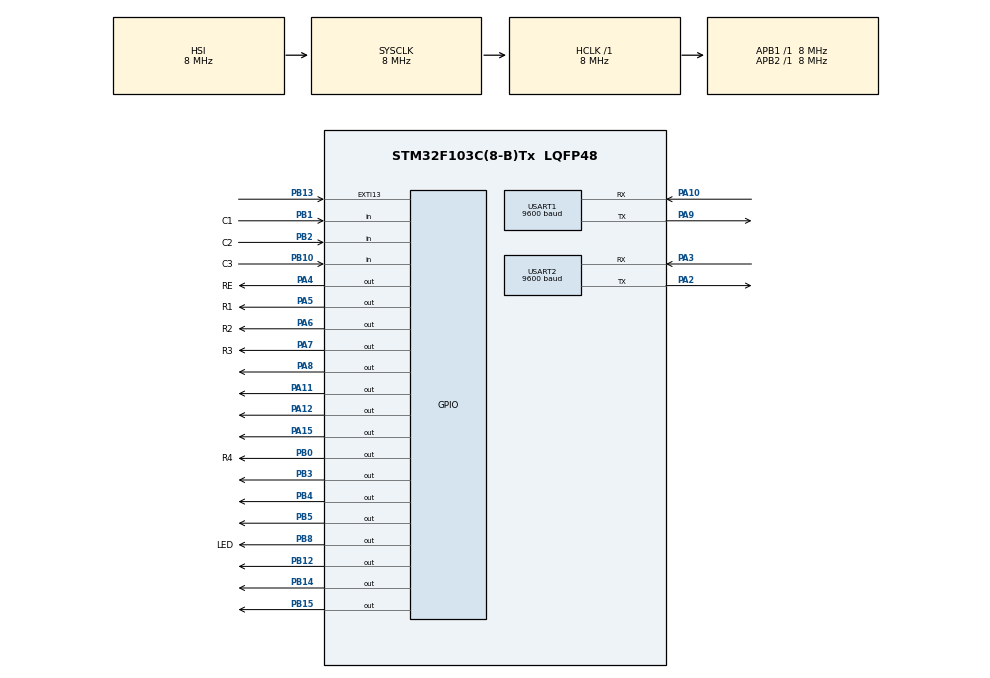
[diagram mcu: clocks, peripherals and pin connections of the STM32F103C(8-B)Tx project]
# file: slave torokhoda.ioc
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Mcu.Family=STM32F1
Mcu.Name=STM32F103C(8-B)Tx
Mcu.Package=LQFP48
NVIC.EXTI15_10_IRQn=true\:0\:0\:false\:false\:true\:true\:true\:true
NVIC.PriorityGroup=NVIC_PRIORITYGROUP_4
NVIC.USART2_IRQn=true\:0\:0\:false\:false\:true\:true\:true\:true
PA10.Mode=Asynchronous
PA10.Signal=USART1_RX
PA11.Signal=GPIO_Output
PA12.Signal=GPIO_Output
PA13.Mode=Serial_Wire
PA13.Signal=SYS_JTMS-SWDIO
PA14.Mode=Serial_Wire
PA14.Signal=SYS_JTCK-SWCLK
PA15.GPIO_PuPd=GPIO_PULLUP
PA15.PinState=GPIO_PIN_RESET
PA15.Signal=GPIO_Output
PA2.Mode=Asynchronous
PA2.Signal=USART2_TX
PA3.Mode=Asynchronous
PA3.Signal=USART2_RX
PA4.GPIO_Label=RE
PA4.Signal=GPIO_Output
PA5.GPIO_Label=R1
PA5.Signal=GPIO_Output
PA6.GPIO_Label=R2
PA6.Signal=GPIO_Output
PA7.GPIO_Label=R3
PA7.Signal=GPIO_Output
PA8.PinState=GPIO_PIN_RESET
PA8.Signal=GPIO_Output
PA9.Mode=Asynchronous
PA9.Signal=USART1_TX
PB0.GPIO_Label=R4
PB0.Signal=GPIO_Output
PB1.GPIO_Label=C1
PB1.GPIO_PuPd=GPIO_PULLUP
PB1.Signal=GPIO_Input
PB10.GPIO_Label=C3
PB10.GPIO_PuPd=GPIO_PULLUP
PB10.Signal=GPIO_Input
PB12.Signal=GPIO_Output
PB13.GPIO_ModeDefaultEXTI=GPIO_MODE_IT_FALLING
PB13.GPIO_PuPd=GPIO_PULLUP
PB13.Signal=GPXTI13
PB14.Signal=GPIO_Output
PB15.Signal=GPIO_Output
PB2.GPIO_Label=C2
PB2.GPIO_PuPd=GPIO_PULLUP
PB2.Signal=GPIO_Input
PB3.Signal=GPIO_Output
PB4.Signal=GPIO_Output
PB5.Signal=GPIO_Output
PB8.GPIO_Label=LED
PB8.Signal=GPIO_Output
ProjectManager.HeapSize=0x200
ProjectManager.StackSize=0x400
ProjectManager.TargetToolchain=MDK-ARM V5.32
RCC.AHBFreq_Value=8000000
RCC.APB1Freq_Value=8000000
RCC.APB1TimFreq_Value=8000000
RCC.APB2Freq_Value=8000000
RCC.APB2TimFreq_Value=8000000
RCC.HCLKFreq_Value=8000000
RCC.PLLMUL=RCC_PLL_MUL6
RCC.SYSCLKFreq_VALUE=8000000
RCC.USBFreq_Value=24000000
USART1.BaudRate=9600
USART1.Parity=PARITY_EVEN
USART1.VirtualMode=VM_ASYNC
USART2.BaudRate=9600
USART2.VirtualMode=VM_ASYNC
board=custom

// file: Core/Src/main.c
/* USER CODE BEGIN Header */
/**
  ******************************************************************************
  * @file           : main.c
  * @brief          : Main program body
  ******************************************************************************
  * @attention
  *
  * Copyright (c) 2025 STMicroelectronics.
  * All rights reserved.
  *
  * This software is licensed under terms that can be found in the LICENSE file
  * in the root directory of this software component.
  * If no LICENSE file comes with this software, it is provided AS-IS.
  *
  ******************************************************************************
  */
/* USER CODE END Header */
#include "main.h"
#include "usart.h"
#include "gpio.h"

/* USER CODE BEGIN Includes */
#include "S_modbus.h"
/* USER CODE END Includes */

/* USER CODE BEGIN PTD */
uint32_t previousMillis, currentMillis;
uint8_t RxData[256], meow;
uint8_t TxData[256];
char key,show,t,last_key;
/* USER CODE END PTD */

/* USER CODE BEGIN PD */
#define a 	0x10		//PB4
#define b 	0x20		//PB5
#define c 	0x8000	//PB15
#define d 	0x800		//PA11
#define e 	0x1000	//PA12
#define f 	0x08		//PB3
#define g 	0x8000	//PA15
#define DP 	0x4000	//PB14

#define C1 0x02			//PB1
#define C2 0x04			//PB2
#define C3 0x400		//PB10
#define R1 0x20			//PA5
#define R2 0x40			//PA6
#define R3 0x80			//PA7
#define R4 0x01			//PB0

#define col_number  3
/* USER CODE END PD */

/* USER CODE BEGIN PV */
void SevenSegNumber(int num);
char keypad_getkey(void);
void beep(void);
/* USER CODE END PV */

void SystemClock_Config(void);

/* USER CODE BEGIN 0 */
uint8_t RxData[256];
uint8_t TxData[256];
int indx,flag,holding,shown,keyActive = 0;

void HAL_UARTEx_RxEventCallback(UART_HandleTypeDef *huart, uint16_t Size)
{
	HAL_UARTEx_ReceiveToIdle_IT(huart, RxData, 256);
	if (RxData[0] == SLAVE_ID)
	{
		switch (RxData[1]){
		case 0x03:
			readHoldingRegs();
			break;
		case 0x04:
			readInputRegs(show);
			break;
		case 0x01:
			readCoils();
			break;
		case 0x02:
			readInputs();
			break;
		case 0x10:
			writeHoldingRegs();
			break;
		case 0x06:
			writeSingleReg();
		break;
		case 0x05:
			writeSingleCoil();
		break;
		case 0x0f:
			writeMultiCoils();
		break;
		default:
			modbusException(ILLEGAL_FUNCTION);
			break;
		}
	}

	indx = Size;
	HAL_UARTEx_ReceiveToIdle_IT(&uart_ch, RxData, 256);
}
/* USER CODE END 0 */

int main(void)
{

  /* MCU Configuration--------------------------------------------------------*/

  /* Reset of all peripherals, Initializes the Flash interface and the Systick. */
  HAL_Init();

  /* Configure the system clock */
  SystemClock_Config();

  /* Initialize all configured peripherals */
  MX_GPIO_Init();
  MX_USART1_UART_Init();
  MX_USART2_UART_Init();
  /* USER CODE BEGIN 2 */

	HAL_GPIO_WritePin(GPIOB, GPIO_PIN_12, GPIO_PIN_SET);
	HAL_Delay(500);
	HAL_GPIO_WritePin(GPIOB, GPIO_PIN_12, GPIO_PIN_RESET);

	HAL_UARTEx_ReceiveToIdle_IT(&uart_ch, RxData, 256);

	//GPIOA->ODR &= 0x00;

  /* USER CODE END 2 */

  /* Infinite loop */
  /* USER CODE BEGIN WHILE */
  while (1)
  {

		key = keypad_getkey();
		if (show == TxData[4])HAL_GPIO_WritePin(GPIOB, LED_Pin, GPIO_PIN_RESET);
		else if (show != RxData[5]) HAL_GPIO_WritePin(GPIOB, LED_Pin, GPIO_PIN_SET);
		else HAL_GPIO_WritePin(GPIOB, LED_Pin, GPIO_PIN_RESET);

		if (key != 0 )
			show=key;
		else if (key ==0 && RxData[5] !=0  && RxData[1] == 6 && meow ==1)
		{
			show = RxData[5];
			beep();
			meow=0;
		}
	SevenSegNumber(show);

    /* USER CODE END WHILE */

  }
}

void SystemClock_Config(void)
{
  RCC_OscInitTypeDef RCC_OscInitStruct = {0};
  RCC_ClkInitTypeDef RCC_ClkInitStruct = {0};

  /** Initializes the RCC Oscillators according to the specified parameters
  * in the RCC_OscInitTypeDef structure.
  */
  RCC_OscInitStruct.OscillatorType = RCC_OSCILLATORTYPE_HSI;
  RCC_OscInitStruct.HSIState = RCC_HSI_ON;
  RCC_OscInitStruct.HSICalibrationValue = RCC_HSICALIBRATION_DEFAULT;
  RCC_OscInitStruct.PLL.PLLState = RCC_PLL_NONE;
  if (HAL_RCC_OscConfig(&RCC_OscInitStruct) != HAL_OK)
  {
    Error_Handler();
  }

  /** Initializes the CPU, AHB and APB buses clocks
  */
  RCC_ClkInitStruct.ClockType = RCC_CLOCKTYPE_HCLK|RCC_CLOCKTYPE_SYSCLK
                              |RCC_CLOCKTYPE_PCLK1|RCC_CLOCKTYPE_PCLK2;
  RCC_ClkInitStruct.SYSCLKSource = RCC_SYSCLKSOURCE_HSI;
  RCC_ClkInitStruct.AHBCLKDivider = RCC_SYSCLK_DIV1;
  RCC_ClkInitStruct.APB1CLKDivider = RCC_HCLK_DIV1;
  RCC_ClkInitStruct.APB2CLKDivider = RCC_HCLK_DIV1;

  if (HAL_RCC_ClockConfig(&RCC_ClkInitStruct, FLASH_LATENCY_0) != HAL_OK)
  {
    Error_Handler();
  }
}

/* USER CODE BEGIN 4 */
void HAL_GPIO_EXTI_Callback(uint16_t GPIO_PIN)
{
	currentMillis = HAL_GetTick();

	if (GPIO_PIN == GPIO_PIN_13 && (currentMillis - previousMillis > 200))
	{
		show = 10;
		readInputRegs(show);

	}
	previousMillis = currentMillis;
}

void SevenSegNumber(int num){
    GPIOA->ODR &= ~(d | e | g);
    GPIOB->ODR &= ~(a | b | c | f);

    switch (num)
    {
        case 0:
            GPIOA->ODR |= (d | e);
            GPIOB->ODR |= (a | b | c | f);
            break;
        case 1:
            GPIOB->ODR |= (b | c);
            break;
        case 2:
            GPIOA->ODR |= (d | e | g);
            GPIOB->ODR |= (a | b);
            break;
        case 3:
            GPIOA->ODR |= (d | g);
            GPIOB->ODR |= (a | b | c);
            break;
        case 4:
            GPIOA->ODR |= (g);
            GPIOB->ODR |= (b | c | f);
            break;
        case 5:
            GPIOA->ODR |= (d | g);
            GPIOB->ODR |= (a | c | f);
            break;
        case 6:
            GPIOA->ODR |= (d | e | g);
            GPIOB->ODR |= (a | c | f);
            break;
        case 7:
            GPIOB->ODR |= (a | b | c);
            break;
        case 8:
            GPIOA->ODR |= (d | e | g);
            GPIOB->ODR |= (a | b | c | f);
            break;
        case 9:
            GPIOA->ODR |= (d | g);
            GPIOB->ODR |= (a | b | c | f);
            break;
				case 10:
            GPIOA->ODR |= (g);
            break;
    }
}

char keypad_getkey(void)
{
	int row, col;
	const int row_high[] =  {R1_Pin, R2_Pin, R3_Pin, R4_Pin}; /* one row is high/low */
	/* If a key is pressed, it gets here to find out which key.
	* It activates one row at a time and read the input to see which column is active. */
	for (row = 0; row < 4; row++)
	{
		if (row<3)	HAL_GPIO_WritePin(GPIOA, row_high[row], GPIO_PIN_RESET); /* drive the active row low */
		else 				HAL_GPIO_WritePin(GPIOB, row_high[row], GPIO_PIN_RESET); /* drive the active row low */
		HAL_Delay(5); /* wait for signal to settle */
		col = GPIOB->IDR & (C1 | C2 | C3); /* read all columns*/
		if (row<3)	HAL_GPIO_WritePin(GPIOA, row_high[row], GPIO_PIN_SET); /* drive the active row high */
		else 				HAL_GPIO_WritePin(GPIOB, row_high[row], GPIO_PIN_SET); /* drive the active row high */
		if (col != (C1 | C2 | C3)) break; /* if one of the input is low, some key is pressed. */
	}
	GPIOA->ODR |= (R1|R2|R3); /* drive all rows high before disable them*/
	GPIOB->ODR |= (R4); /* drive all rows high before disable them*/
	if (row == 4) return 0; /* if we get here, no key is pressed */
	/* gets here when one of the rows has key pressed, check which column it is */
	if (col == (C2|C3))		return row * col_number + 1; /* key in column 0 */
	if (col == (C1|C3)) 	return row * col_number + 2; /* key in column 1 */
	if (col == (C1|C2)) 	return row * col_number + 3; /* key in column 2 */
//	if (col == 0x0007) return row * col_number + 4; /* key in column 3 */
	return 0; /* just to be safe */
}

void beep(void)
{
	HAL_GPIO_WritePin(GPIOB, GPIO_PIN_12, GPIO_PIN_SET);
	HAL_Delay(100);
	HAL_GPIO_WritePin(GPIOB, GPIO_PIN_12, GPIO_PIN_RESET);
	HAL_Delay(100);
	HAL_GPIO_WritePin(GPIOB, GPIO_PIN_12, GPIO_PIN_SET);
	HAL_Delay(100);
	HAL_GPIO_WritePin(GPIOB, GPIO_PIN_12, GPIO_PIN_RESET);
}
/* USER CODE END 4 */

void Error_Handler(void)
{
  __disable_irq();
  while (1)
  {
  }
}
